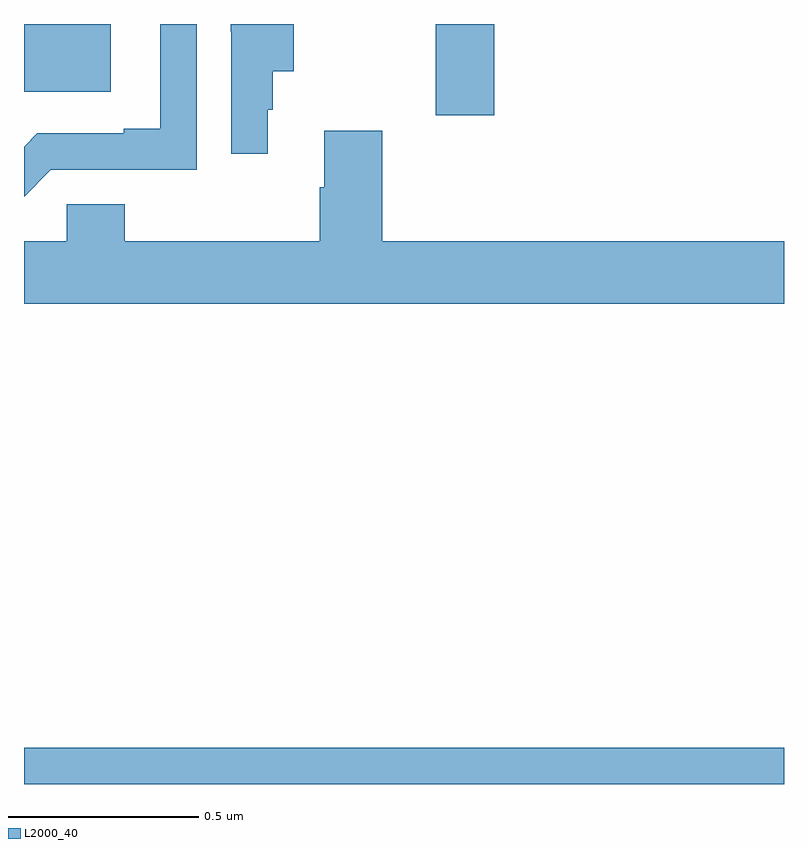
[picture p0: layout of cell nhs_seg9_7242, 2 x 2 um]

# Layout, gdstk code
import gdstk
lib = gdstk.Library(unit=1e-6, precision=1e-09)
def R(c, l, rs):  # rectangles x0, y0, x1, y1
    for r in rs: c.add(gdstk.rectangle(r[:2], r[2:], *l))
def P(c, l, *ps):  # polygons
    for p in ps: c.add(gdstk.Polygon(p, *l))
L2000_40 = (2000, 40)

nhs_seg9_7242 = lib.new_cell('nhs_seg9_7242')
R(nhs_seg9_7242, L2000_40, [(202,1184.5,204,1184.596), (203.083,1186.26,203.237,1186.5), (202,1186.322,202.228,1186.5)])
P(nhs_seg9_7242, L2000_40, [(202.071,1186.116),(202.455,1186.116),(202.455,1186.5),(202.358,1186.5),(202.358,1186.225),(202.262,1186.225),(202.262,1186.212),(202.035,1186.212),(202,1186.177),(202,1186.045)],
  [(202.642,1186.275),(202.654,1186.275),(202.654,1186.376),(202.71,1186.376),(202.71,1186.5),(202.544,1186.5),(202.544,1186.48),(202.545,1186.48),(202.545,1186.158),(202.642,1186.158)],
  [(204,1185.928),(202.943,1185.928),(202.943,1186.219),(202.79,1186.219),(202.79,1186.07),(202.778,1186.07),(202.778,1185.928),(202.265,1185.928),(202.265,1186.026),(202.113,1186.026),(202.113,1185.928),(202,1185.928),(202,1185.764),(204,1185.764)])

lib.write_gds('nhs_seg9_7242.gds')
